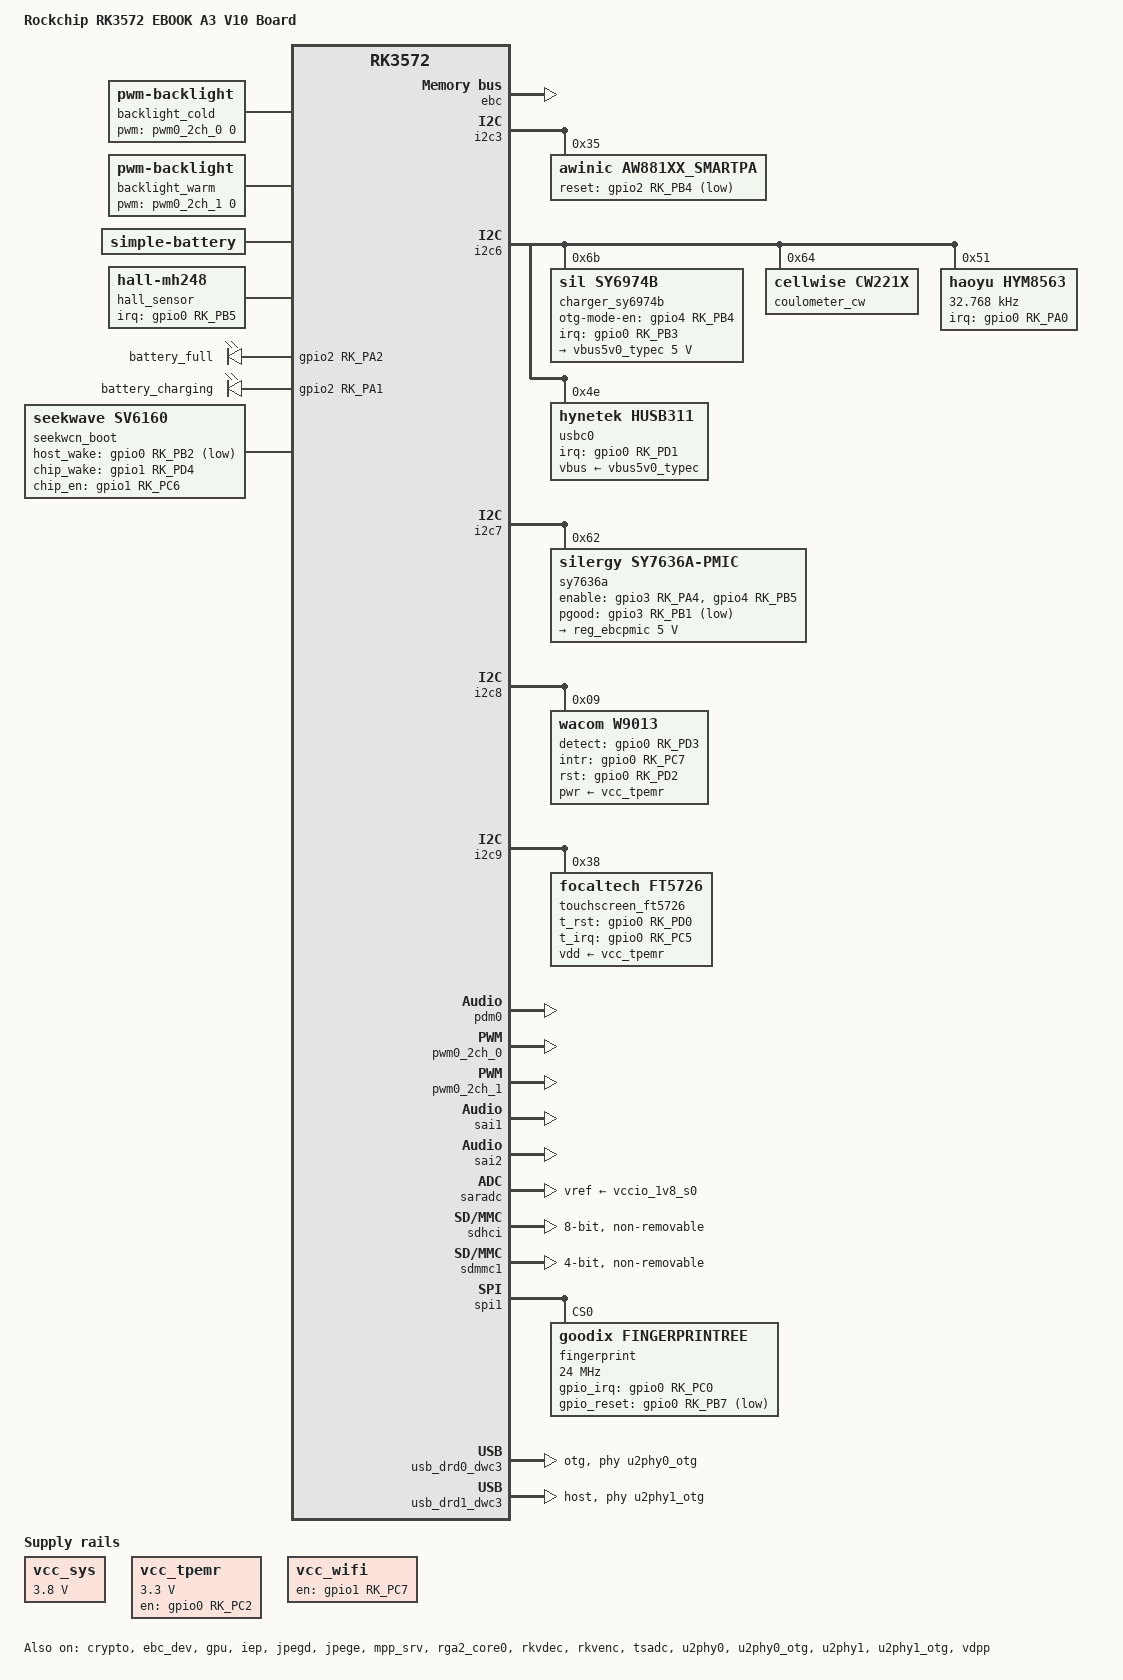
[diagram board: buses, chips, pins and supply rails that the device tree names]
// SPDX-License-Identifier: (GPL-2.0+ OR MIT)
/*
 * Copyright (c) 2026 Rockchip Electronics Co., Ltd.
 *
 */

/dts-v1/;

#include <dt-bindings/display/drm_mipi_dsi.h>
#include <dt-bindings/display/rockchip_vop.h>
#include <dt-bindings/gpio/gpio.h>
#include <dt-bindings/input/rk-input.h>
#include <dt-bindings/pinctrl/rockchip.h>
#include <dt-bindings/pwm/pwm.h>
#include <dt-bindings/sensor-dev.h>
#include <dt-bindings/usb/pd.h>
#include "rk3572.dtsi"
#include "rk3572-android.dtsi"
#include "rk3572-ebook.dtsi"
#include "rk3572-ebook-camera.dtsi"

/ {
	model = "Rockchip RK3572 EBOOK A3 V10 Board";
	compatible = "rockchip,rk3572-ebook-a3-v10", "rockchip,rk3572";

	backlight_cold: backlight {
		status = "okay";
		compatible = "pwm-backlight";
		pwms = <&pwm0_2ch_0 0 25000 0>;
		brightness-levels = <
			/*0  */  0     200  400  600  800
			/*5  */  1000 1200 1400 1600 1800
			/*10 */  2000 2200 2400 2600 2800
			/*15 */  3000 3200 3400 3600 3800
			/*20 */  4000 4200 4400 4600 4800
			/*25 */  5000 5200 5400 5600 5800
			/*30 */  6000 6200 6400 6600 6800 6900
			/*36 */  7000 7200 7400 7700
			/*40 */  8000 8200 8400 8600 8800
			/*45 */  9000 9200 9400 9600 9800
			/*50 */  10000 10200 10400 10600 10800
			/*55 */  11000 11200 11400 11600 11800
			/*60 */  12000 12200 12400 12600 12800
			/*65 */  13000 13200 13400 13500 13600 13700 13800
			/*72 */  14000 14100 14200 14300 14400 14500 14600 14700 14800 14900
			/*82 */  15000 15100 15200 15300 15400 15500 15600 15650 15700 15750 15800 15900 15950
			/*95 */  16000 16100 16200 16300 16400 16500 16600 16650 16700 16750 16800 16900 16950
			/*108*/  17000 17100 17150 17200 17250 17300 17350 17400 17450 17500 17550 17600 17650 17750 17800 17850 17900 17950
			/*126*/  18000 18100 18150 18200 18250 18300 18350 18400 18450 18500 18550 18600 18650 18750 18800 18850 18900 18950
			/*144*/  19000 19100 19150 19200 19250 19300 19350 19400 19450 19500 19550 19600 19650 19750 19800 19850 19900 19950
			/*162*/  20000 20100 20150 20200 20250 20300 20350 20400 20450 20500 20550 20600 20650 20750 20800 20850 20900 20950
			/*180*/  21000 21100 21150 21200 21250 21300 21350 21400 21450 21500 21550 21600 21650 21750 21800 21850 21900 21950
			/*198*/  22000 22100 22150 22200 22250 22300 22350 22400 22450 22500 22550 22600 22650 22750 22800 22850 22900 22950
			/*216*/  23000 23100 23150 23230 23250 23300 23350 23400 23450 23500 23550 23600 23650 23750 23800 23850 23900 23950
					24000 24100 24150 24200 24250 24300 24350 24400 24450 24500 24550 24600 24650 24750 24800 24850 24900 24950 24950 24950 24950
			/*255*/  25000
		>;
		default-brightness-level = <0>;
	};

	backlight_warm: backlight-warm {
		status = "okay";
		compatible = "pwm-backlight";
		pwms = <&pwm0_2ch_1 0 25000 0>;
		brightness-levels = <
			/*0  */  0     200  400  600  800
			/*5  */  1000 1200 1400 1600 1800
			/*10 */  2000 2200 2400 2600 2800
			/*15 */  3000 3200 3400 3600 3800
			/*20 */  4000 4200 4400 4600 4800
			/*25 */  5000 5200 5400 5600 5800
			/*30 */  6000 6200 6400 6600 6800 6900
			/*36 */  7000 7200 7400 7700
			/*40 */  8000 8200 8400 8600 8800
			/*45 */  9000 9200 9400 9600 9800
			/*50 */  10000 10200 10400 10600 10800
			/*55 */  11000 11200 11400 11600 11800
			/*60 */  12000 12200 12400 12600 12800
			/*65 */  13000 13200 13400 13500 13600 13700 13800
			/*72 */  14000 14100 14200 14300 14400 14500 14600 14700 14800 14900
			/*82 */  15000 15100 15200 15300 15400 15500 15600 15650 15700 15750 15800 15900 15950
			/*95 */  16000 16100 16200 16300 16400 16500 16600 16650 16700 16750 16800 16900 16950
			/*108*/  17000 17100 17150 17200 17250 17300 17350 17400 17450 17500 17550 17600 17650 17750 17800 17850 17900 17950
			/*126*/  18000 18100 18150 18200 18250 18300 18350 18400 18450 18500 18550 18600 18650 18750 18800 18850 18900 18950
			/*144*/  19000 19100 19150 19200 19250 19300 19350 19400 19450 19500 19550 19600 19650 19750 19800 19850 19900 19950
			/*162*/  20000 20100 20150 20200 20250 20300 20350 20400 20450 20500 20550 20600 20650 20750 20800 20850 20900 20950
			/*180*/  21000 21100 21150 21200 21250 21300 21350 21400 21450 21500 21550 21600 21650 21750 21800 21850 21900 21950
			/*198*/  22000 22100 22150 22200 22250 22300 22350 22400 22450 22500 22550 22600 22650 22750 22800 22850 22900 22950
			/*216*/  23000 23100 23150 23230 23250 23300 23350 23400 23450 23500 23550 23600 23650 23750 23800 23850 23900 23950
			 24000 24100 24150 24200 24250 24300 24350 24400 24450 24500 24550 24600 24650 24750 24800 24850 24900 24950 24950 24950 24950
			/*255*/  25000
		>;
		default-brightness-level = <0>;
	};

	bat: battery {
		compatible = "simple-battery";
		charge-full-design-microamp-hours = <2600000>;
		precharge-current-microamp = <180000>;
		precharge-upper-limit-microvolt = <3600000>;
		charge-term-current-microamp = <200000>;
		constant-charge-current-max-microamp = <2000000>;
		constant-charge-voltage-max-microvolt = <4350000>;
		factory-internal-resistance-micro-ohms = <120>;
		voltage-max-design-microvolt = <4350000>;
		voltage-min-design-microvolt = <3000000>;
	};

	bt_sco: bt-sco {
		status = "okay";
		compatible = "delta,dfbmcs320";
		#sound-dai-cells = <1>;
	};

	bt_sound: bt-sound {
		status = "okay";
		compatible = "simple-audio-card";
		simple-audio-card,format = "dsp_a";
		simple-audio-card,bitclock-inversion;
		simple-audio-card,mclk-fs = <256>;
		simple-audio-card,name = "rockchip,bt";
		simple-audio-card,cpu {
			sound-dai = <&sai2>;
		};
		simple-audio-card,codec {
			sound-dai = <&bt_sco 1>;
		};
	};

	charge-animation {
		compatible = "rockchip,uboot-charge";
		rockchip,uboot-charge-on = <1>;
		rockchip,android-charge-on = <0>;
		rockchip,uboot-low-power-voltage = <3450>;
		rockchip,screen-on-voltage = <3500>;
		rockchip,uboot-exit-charge-level = <2>;
		rockchip,uboot-exit-charge-voltage = <3500>;
		rockchip,uboot-exit-charge-auto = <1>;
		status = "okay";
	};

	charger-manager {
		status = "okay";
		compatible = "rockchip-charger-manager";
		cm-name = "battery";
		cm-poll-mode = <2>;
		cm-poll-interval = <5000>;

		cm-chargers = "sy6974b-charger";
		cm-chargers-phandle = <&usbc0>;
		cm-fuel-gauge = "cw221X-bat";
		monitored-battery = <&bat>;
		extcon = <&u2phy0>;
		cm-jeita-temp-charge-table = <0 15 260000 4200000>, <15 45 2000000 4350000>, <45 60 400000 4100000>;
	};

	hall_sensor: hall-mh248 {
		compatible = "hall-mh248";
		pinctrl-names = "default";
		pinctrl-0 = <&mh248_irq_gpio>;
		irq-gpio = <&gpio0 RK_PB5 IRQ_TYPE_EDGE_BOTH>;
		hall-active = <1>;
		status = "okay";

		//for ebook ultra sleep config
		pmu-gpio-regs-base = <0x26300000>; //gpio0 base
		pmu-gpio-regs-size = <0x200>; //gpio0 register size
		pmu-gpio-int-reg = <0x50>; //gpio int status register
		pmu-gpio-rtc-int-mask = <0x01>; //GPIO0_A0, rtc int
		pmu-gpio-pmic-int-mask = <0x40>; //GPIO0_A6, pmic int
	};

	leds: gpio-leds {
		compatible = "gpio-leds";
		pinctrl-names = "default";
		pinctrl-0 =<&leds_gpio>;

		led@1 {
			gpios = <&gpio2 RK_PA2 GPIO_ACTIVE_HIGH>;
			linux,default-trigger = "cw221X-bat-full";
			label = "battery_full";
			retain-state-suspended;
			default-state = "off";
		};

		led@2 {
			gpios = <&gpio2 RK_PA1 GPIO_ACTIVE_HIGH>;
			linux,default-trigger = "cw221X-bat-charging";
			label = "battery_charging";
			retain-state-suspended;
			default-state = "off";
		};
	};

	pdm_codec: dummy-codec {
		status = "okay";
		compatible = "rockchip,dummy-codec";
		#sound-dai-cells = <0>;
	};

	pdm_mic_array: pdm-mic-array {
		status = "okay";
		compatible = "simple-audio-card";
		simple-audio-card,format = "pdm";
		simple-audio-card,name = "rockchip,pdm-mic-array";
		simple-audio-card,cpu {
			sound-dai = <&pdm0>;
		};
		simple-audio-card,codec {
			sound-dai = <&pdm_codec>;
		};
	};

	sdio_pwrseq: sdio-pwrseq {
		compatible = "mmc-pwrseq-simple";
		pinctrl-names = "default";
		pinctrl-0 = <&wifi_chipen_gpio>;
	};

	seekwcn_boot: seekwcn-boot {
		status = "okay";
		compatible = "seekwave,sv6160";
		pinctrl-names = "default";
		pinctrl-0 = <&wifi_wake_gpio>;
		sv6160_path = "/vendor/bin/sv6160.bin";
		sv6160_dram_path = "/vendor/etc/firmware/RAM_RW_KERNEL_DRAM";
		sv6160_iram_path = "/vendor/etc/firmware/ROM_EXEC_KERNEL_IRAM";
		dma_type = <1>;/*1:ADMA,2:SDMA*/
		gpio_host_wake = <&gpio0 RK_PB2 GPIO_ACTIVE_LOW>; /* CP2AP */
		gpio_chip_wake = <&gpio1 RK_PD4 GPIO_ACTIVE_HIGH>; /* AP2CP */
		gpio_chip_en = <&gpio1 RK_PC6 GPIO_ACTIVE_HIGH>; /* CHIP EN */
	};

	spk_sound: spk-sound {
		status = "okay";
		compatible = "rockchip,multicodecs-card";
		rockchip,card-name = "rockchip,rk";
		rockchip,format = "i2s";
		rockchip,mclk-fs = <256>;
		rockchip,cpu = <&sai1>;
		rockchip,codec = <&aw881xx_smartpa>;
	};

	vcc_sys: vcc-sys {
		compatible = "regulator-fixed";
		regulator-name = "vcc_sys";
		regulator-always-on;
		regulator-boot-on;
		regulator-min-microvolt = <3800000>;
		regulator-max-microvolt = <3800000>;
	};

	vcc_tpemr: vcc-tpemr {
		compatible = "regulator-fixed";
		enable-active-high;
		gpio = <&gpio0 RK_PC2 GPIO_ACTIVE_HIGH>;
		pinctrl-names = "default";
		pinctrl-0 = <&vcc_tpemr_en>;
		regulator-name = "vcc_tpemr";
		regulator-boot-on;
		startup-delay-us = <10000>;
		regulator-min-microvolt = <3300000>;
		regulator-max-microvolt = <3300000>;
	};

	vkms {
		compatible = "rockchip,vkms";
		rockchip,vkms-crtc-num = <1>;
		rockchip,vkms-conn-disconnected = <0>;
	};

	vcc_wifi: vcc-wifi {
		compatible = "regulator-fixed";
		enable-active-high;
		gpio = <&gpio1 RK_PC7 GPIO_ACTIVE_HIGH>;
		pinctrl-names = "default";
		pinctrl-0 = <&wifi_poweren_gpio>;
		regulator-name = "vcc_wifi";
		regulator-boot-on;
		regulator-always-on;
	};
};

&cpu_l0 {
	cpu-supply = <&vdd_cpu_lit_s0>;
};

&cpu_l4 {
	cpu-supply = <&vdd_cpu_lit_s0>;
};

&cpu_b0 {
	cpu-supply = <&vdd_cpu_big_s0>;
};

&crypto {
	status = "okay";
};

&ebc {
	pinctrl-names = "default";
	pinctrl-0 = <&ebc_16bit_pins>;
	status = "okay";
};

&ebc_dev {
	pmic = <&sy7636a>;
	status = "okay";
	backlight = <&backlight_warm &backlight_cold>;

	/* B082A01 */
	panel,width = <1920>;
	panel,height = <1440>;
	panel,vir_width = <1920>;
	panel,vir_height = <1440>;
	panel,sdck = <40000000>;//35000000
	panel,lsl = <15>;
	panel,lbl = <15>;
	panel,ldl = <240>;
	panel,lel = <54>;
	panel,gdck-sta = <48>;
	panel,lgonl = <252>;
	panel,fsl = <1>;
	panel,fbl = <4>;
	panel,fdl = <1440>;
	panel,fel = <10>;
	panel,mirror = <0>;
	panel,panel_16bit = <1>;
	panel,panel_color = <0>;
	panel,width-mm = <119>;
	panel,height-mm = <158>;
	panel,disable_logo = <0>;
	panel,rearrange = <0>;
	panel,sdoe = <1>;
};

&gpu {
	mali-supply = <&vdd_npu_gpu_s0>;
	status = "okay";
};

&i2c3 {
	status = "okay";
	pinctrl-names = "default";

	aw881xx_smartpa: aw881xx@35 {
		status = "okay";
		compatible = "awinic,aw881xx_smartpa";
		#sound-dai-cells = <0>;
		reg = <0x35>;
		pinctrl-names = "default";
		pinctrl-0 = <&aw881xx_gpio>;
		reset-gpio = <&gpio2 RK_PB4 GPIO_ACTIVE_LOW>;
		sound-channel = <0>; /*0:pri_l 1:pri_r 2:sec_l 3:sec_r*/
		monitor-mode = "hal_momitor";
		aw-re-min = <4000>;
		aw-re-max= <30000>;
		// aw-cali-mode = "none";
	};
};

&i2c6 {
	status = "okay";
	pinctrl-names = "default";
	pinctrl-0 = <&i2c6m3_xfer_pins>;

	charger_sy6974b: sy6974b@6b {
		status = "okay";
		compatible = "sil,sy6974b";
		reg = <0x6b>;
		pinctrl-names = "default";
		pinctrl-0 = <&charger_ok>;
		interrupt-parent = <&gpio0>;
		interrupts = <RK_PB3 IRQ_TYPE_EDGE_FALLING>;
		otg-mode-en-gpios = <&gpio4 RK_PB4 GPIO_ACTIVE_HIGH>;
		input-voltage-limit-microvolt = <4400000>;
		input-current-limit-microamp = <2000000>;
		monitored-battery = <&bat>;

		regulators {
			vbus5v0_typec: vbus5v0-typec {
				regulator-compatible = "otg-vbus";
				regulator-name = "vbus5v0_typec";
				regulator-min-microvolt = <0>;
				regulator-max-microvolt = <5000000>;
				regulator-state-mem {
					regulator-off-in-suspend;
				};
			};
		};
	};

	coulometer_cw: cw221X@64 {
		status = "okay";
		compatible = "cellwise,cw221X";
		reg = <0x64>;
		cw,user_rsense = <2000>;
		cellwise,battery-profile = /bits/ 8
			<0x6E 0x00 0x00 0x00 0x00 0x00 0x00 0x00
			0xB7 0xB0 0xBA 0xCE 0xC0 0xAB 0xD5 0xBB
			0xAD 0xFF 0xFF 0xCD 0x9A 0x81 0x68 0x50
			0x3E 0x30 0x1F 0x86 0x6C 0xD9 0xA7 0xD7
			0xD3 0xD1 0xCE 0xCC 0xC9 0xB9 0xD6 0xA5
			0xB8 0xC4 0xC3 0x98 0x89 0x81 0x72 0x64
			0x58 0x61 0x71 0x8A 0xA3 0x90 0x4B 0x8D
			0x20 0x00 0xAB 0x10 0x00 0x81 0x50 0x00
			0x00 0x00 0x64 0x5B 0x90 0x75 0x00 0x00
			0x00 0x00 0x00 0x00 0x00 0x00 0x00 0x54>;
	};

	hym8563: hym8563@51 {
		compatible = "haoyu,hym8563";
		reg = <0x51>;
		#clock-cells = <0>;
		clock-frequency = <32768>;
		clock-output-names = "hym8563";
		pinctrl-names = "default";
		pinctrl-0 = <&rtc_int>;

		interrupt-parent = <&gpio0>;
		interrupts = <RK_PA0 IRQ_TYPE_LEVEL_LOW>;
		wakeup-source;
		status = "okay";
	};

	usbc0: husb311@4e {
		compatible = "hynetek,husb311";
		reg = <0x4e>;
		interrupt-parent = <&gpio0>;
		interrupts = <RK_PD1 IRQ_TYPE_LEVEL_LOW>;
		pinctrl-names = "default";
		pinctrl-0 = <&usbc0_int>;
		vbus-supply = <&vbus5v0_typec>;
		status = "okay";

		usb_con: connector {
			compatible = "usb-c-connector";
			label = "USB-C";
			data-role = "dual";
			power-role = "dual";
			try-power-role = "sink";
			op-sink-microwatt = <1000000>;
			orientation-switch = <&u2phy0>;
			usb-role-switch = <&usb_drd0_dwc3>;
			sink-pdos = <PDO_FIXED(5000, 2000, PDO_FIXED_DATA_SWAP | PDO_FIXED_USB_COMM | PDO_FIXED_EXTPOWER | PDO_FIXED_DUAL_ROLE) PDO_VAR(5000, 12000, 2000) PDO_PPS_APDO(5000, 12000, 2000)>;
			source-pdos = <PDO_FIXED(5000, 1200, PDO_FIXED_DATA_SWAP | PDO_FIXED_USB_COMM | PDO_FIXED_EXTPOWER | PDO_FIXED_DUAL_ROLE)>;
		};
	};
};

&i2c7 {
	status = "okay";
	pinctrl-names = "default";
	pinctrl-0 = <&i2c7m2_xfer_pins>;

	sy7636a: sy7636a@62 {
		compatible = "silergy,sy7636a-pmic";
		reg = <0x62>;
		status = "okay";

		pinctrl-names = "default";
		pinctrl-0 = <&sy7636a_default>;

		enable-gpios = <&gpio3 RK_PA4 GPIO_ACTIVE_HIGH>, <&gpio4 RK_PB5 GPIO_ACTIVE_HIGH>;
		pgood-gpio = <&gpio3 RK_PB1 GPIO_ACTIVE_LOW>;

		thermal-zone = "ebcpmic-thermal";
		#thermal-sensor-cells = <0>;

		regulators {
			compatible = "sy7636a-regulator";
			reg_ebcpmic: vcom {
				regulator-name = "vcom";
				regulator-min-microvolt = <0>;
				regulator-max-microvolt = <5000000>;
				regulator-boot-on;
				regulator-state-mem {
					regulator-off-in-suspend;
				};
			};
		};

		sy7636a_thermal: sy7636a_thermal {
			compatible = "sy7636a-thermal";
		};
	};
};

&i2c8 {
	status = "okay";
	pinctrl-names = "default";
	pinctrl-0 = <&i2c8m2_xfer_pins>;

	wacom: wacom@9 {
		compatible = "wacom,w9013";
		reg = <0x09>;
		pwr-supply = <&vcc_tpemr>;
		pinctrl-names = "default";
		pinctrl-0 = <&wacom_gpio>;
		gpio_detect = <&gpio0 RK_PD3 GPIO_ACTIVE_HIGH>;
		gpio_intr = <&gpio0 RK_PC7 GPIO_ACTIVE_HIGH>;
		gpio_rst = <&gpio0 RK_PD2 GPIO_ACTIVE_HIGH>;
		revert_x = <0>;
		revert_y = <1>;
		xy_exchange = <1>;
		wacom-support-wakeup;
	};
};

&i2c9 {
	status = "okay";
	pinctrl-names = "default";
	pinctrl-0 = <&i2c9m2_xfer_pins>;

	touchscreen_ft5726: ft5726@38 {
		status = "okay";
		compatible = "focaltech,ft5726";
		reg = <0x38>;
		vdd-supply = <&vcc_tpemr>;
		pinctrl-names = "default";
		pinctrl-0 = <&touch_gpio>;
		t_rst-gpios = <&gpio0 RK_PD0 GPIO_ACTIVE_HIGH>;
		t_irq-gpios = <&gpio0 RK_PC5 IRQ_TYPE_LEVEL_LOW>;
		focaltech,max-touch-number = <5>;
		focaltech,display-coords = <0 0 1920 1440>;
		focaltech,revert_x_flag = <0>;
		focaltech,revert_y_flag = <1>;
		focaltech,exchange_x_y_flag = <1>;
	};
};

&iep {
	status = "okay";
};

&iep_mmu {
	status = "okay";
};

&jpegd {
	status = "okay";
};

&jpege {
	status = "okay";
};

&jpeg_mmu {
	status = "okay";
};

&mpp_srv {
	status = "okay";
};

&pdm0 {
	status = "okay";
	#sound-dai-cells = <0>;
	pinctrl-names = "default", "idle", "clk";
	pinctrl-0 = <&pdmm1_sdi0_pins &pdmm1_sdi1_pins>;
	pinctrl-1 = <&pdmm1_clk0_idle>;
	pinctrl-2 = <&pdmm1_clk0_pins>;
	rockchip,path-map = <0 1 2 3>;
};

&pinctrl {
	audio {
		aw881xx_gpio: aw881xx-gpio {
			rockchip,pins =
					<2 RK_PB4 RK_FUNC_GPIO &pcfg_pull_none>;
		};
	};

	charger {
		charger_ok: charger_ok {
			rockchip,pins =
					<0 RK_PB3 RK_FUNC_GPIO &pcfg_pull_up>,
					<4 RK_PB4 RK_FUNC_GPIO &pcfg_pull_up>;
		};
	};

	fp {
		fp_gpio: fp-gpio {
			rockchip,pins =
					<0 RK_PB7 RK_FUNC_GPIO &pcfg_pull_none>,
					<0 RK_PC0 RK_FUNC_GPIO &pcfg_pull_none>;
		};
	};

	hall {
		mh248_irq_gpio: mh248-irq-gpio {
			rockchip,pins = <0 RK_PB5 RK_FUNC_GPIO &pcfg_pull_up>;
		};
	};

	led {
		leds_gpio: leds-gpio {
			rockchip,pins =
					<2 RK_PA1 RK_FUNC_GPIO &pcfg_pull_none>,
					<2 RK_PA2 RK_FUNC_GPIO &pcfg_pull_none>;
		};
	};

	rtc {
		rtc_int: rtc-int {
			rockchip,pins = <0 RK_PA0 RK_FUNC_GPIO &pcfg_pull_up>;
		};
	};

	sy7636a {
		sy7636a_default: sy7636a_default {
			rockchip,pins =
					<3 RK_PA4 RK_FUNC_GPIO &pcfg_pull_up>,
					<4 RK_PB5 RK_FUNC_GPIO &pcfg_pull_up>,
					<3 RK_PB1 RK_FUNC_GPIO &pcfg_pull_none>;
		};
	};

	touch {
		touch_gpio: touch-gpio {
			rockchip,pins =
					<0 RK_PC5 RK_FUNC_GPIO &pcfg_pull_up>,
					<0 RK_PD0 RK_FUNC_GPIO &pcfg_pull_up>;
		};
	};

	touch-pen {
		wacom_gpio: wacom-gpio {
			rockchip,pins =
					<0 RK_PD2 RK_FUNC_GPIO &pcfg_pull_none>,
					<0 RK_PC7 RK_FUNC_GPIO &pcfg_pull_up>,
					<0 RK_PD3 RK_FUNC_GPIO &pcfg_pull_up>;
		};

		vcc_tpemr_en: vcc-tpemr-en {
			rockchip,pins = <0 RK_PC2 RK_FUNC_GPIO &pcfg_pull_none>;
		};
	};

	usb {
		usbc0_int: usbc0-int {
			rockchip,pins = <0 RK_PD1 RK_FUNC_GPIO &pcfg_pull_up>;
		};
	};

	wireless-wlan {
		wifi_wake_gpio: wifi-wake-gpio {
			rockchip,pins =
					<0 RK_PB2 RK_FUNC_GPIO &pcfg_pull_none>,
					<1 RK_PD4 RK_FUNC_GPIO &pcfg_pull_none>;
		};

		wifi_chipen_gpio: wifi-chipen-gpio {
			rockchip,pins = <1 RK_PC6 RK_FUNC_GPIO &pcfg_pull_up>;
		};

		wifi_poweren_gpio: wifi-poweren-gpio {
			rockchip,pins = <1 RK_PC7 RK_FUNC_GPIO &pcfg_pull_up>;
		};
	};
};

&pwm0_2ch_0 {
	status = "okay";
};

&pwm0_2ch_1 {
	status = "okay";
};

&rga2_core0 {
	status = "okay";
};

&rga2_core0_mmu {
	status = "okay";
};

&rkvdec {
	status = "okay";
};

&rkvdec_mmu {
	status = "okay";
};

&rkvenc {
	status = "okay";
};

&rkvenc_mmu {
	status = "okay";
};

&sai1 {
	status = "okay";
	pinctrl-names = "default";
	pinctrl-0 = <&sai1m0_lrck_pins
		     &sai1m0_sclk_pins
		     &sai1m0_sdo0_pins>;
};

&sai2 {
	status = "okay";
};

&saradc {
	status = "okay";
	vref-supply = <&vccio_1v8_s0>;
};

&sdhci {
	bus-width = <8>;
	no-sdio;
	no-sd;
	non-removable;
	max-frequency = <200000000>;
	mmc-hs400-1_8v;
	mmc-hs400-enhanced-strobe;
	full-pwr-cycle-in-suspend;
	status = "okay";
};

&sdmmc1 {
	max-frequency = <200000000>;
	no-sd;
	no-mmc;
	bus-width = <4>;
	cap-sd-highspeed;
	cap-sdio-irq;
	keep-power-in-suspend;
	mmc-pwrseq = <&sdio_pwrseq>;
	non-removable;
	pinctrl-names = "default";
	pinctrl-0 = <&sdmmc1_bus4_pins &sdmmc1_clk_pins &sdmmc1_cmd_pins>;
	sd-uhs-sdr104;
	status = "okay";
};

&spi1 {
	status = "okay";
	max-freq = <48000000>;
	pinctrl-names = "default";
	pinctrl-0 = <&spi1m1_csn0_pins &spi1m1_pins>;

	fingerprint: gf3976@0 {
		status = "okay";
		compatible = "goodix,fingerprintree";
		reg = <0>;
		pinctrl-names = "default";
		pinctrl-0 = <&fp_gpio>;
		goodix,gpio_irq = <&gpio0 RK_PC0 IRQ_TYPE_EDGE_RISING>;
		goodix,gpio_reset = <&gpio0 RK_PB7 GPIO_ACTIVE_LOW>;
		spi-max-frequency = <24000000>;
	};
};

&thermal_zones {
	ebcpmic_thermal: ebcpmic-thermal {
		polling-delay = <0>;
		polling-delay-passive = <0>;
		thermal-sensors = <&sy7636a>;

		trips {
			sy7636a_dummy_trip: sy7636a-dummy-trip {
				temperature = <100000>;
				hysteresis = <0>;
				type = "hot";
			};
		};
	};
};

&tsadc {
	status = "okay";
};

&u2phy0 {
	orientation-switch;
	status = "okay";
};

&u2phy0_otg {
	rockchip,typec-vbus-det;
	status = "okay";
};

&u2phy1 {
	orientation-switch;
	status = "okay";
};

&u2phy1_otg {
	rockchip,typec-vbus-det;
	status = "okay";
};

&usb_drd0_dwc3 {
	dr_mode = "otg";
	maximum-speed = "high-speed";
	phys = <&u2phy0_otg>;
	phy-names = "usb2-phy";
	snps,dis_u2_susphy_quirk;
	snps,usb2-lpm-disable;
	usb-role-switch;
	status = "okay";
};

&usb_drd1_dwc3 {
	dr_mode = "host";
	maximum-speed = "high-speed";
	phys = <&u2phy1_otg>;
	phy-names = "usb2-phy";
	snps,dis_u2_susphy_quirk;
	snps,usb2-lpm-disable;
	usb-role-switch;
	status = "okay";
};

&vdpp {
	status = "okay";
};
